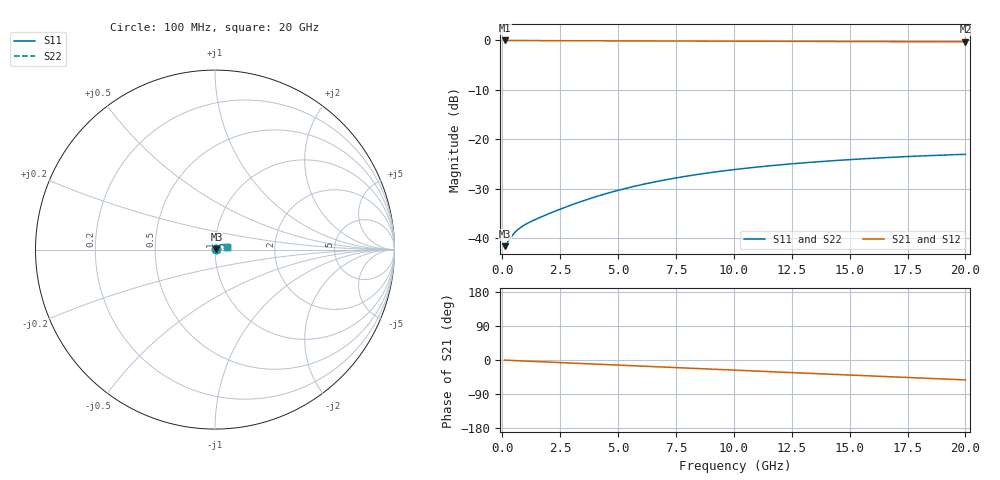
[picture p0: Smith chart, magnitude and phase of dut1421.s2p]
! Touchstone file exported from HFSS 2026.1.0
!  File:  C:/ffzhzh/LocalFiles/Ansys_Project_Files/temp_train_TMRDL_1421_1783166703_43440.aedt
!  Generated:  08:06:20 PM Jul  4, 2026
!  Design:  TMRDL
!  Project:  temp_train_TMRDL_1421_1783166703_43440
! Variables:
!  h_bsmrdl = 2um
!  h_ox = 20um
!  h_rdl = 5um
!  h_sub = 80um
!  h_tmrdl = 3.35um
!  h_tsv = 80um
!  h_via = 3um
!  l_bsmrdl = 300um
!  l_sub = 1359.05um
!  l_tmrdl = 959.05um
!  m_sub = 200um
!  pitch = 16.06um
!  r_tsv = 6um
!  s_tmrdl = 10um
!  w_bsmrdl = 18um
!  w_sub = 500um
!  w_tmrdl = 12.42um
!  x_tsv_center1 = 965.26um
!  x_tsv_center2 = 1283.26um
!  x_tsv_center3 = 2254.73um
!  x_tsv_center4 = 2572.73um
!  x_tsv_center5 = 3544.2um
!  x_tsv_center6 = 3862.2um
# GHz S MA R 50.000000
! Terminal data exported
! Port[1] = TM_RDL1_1_T1
! Port[2] = TM_RDL1_1_T2
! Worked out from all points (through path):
!   200 points, 100 MHz to 20 GHz, reference 50 ohm
!   highest |S21| = -0.07 dB at 100 MHz (marker M1); lowest = -0.3 dB at 20 GHz (marker M2)
!   group delay of S21, straight-line fit = 7.27 ps
!   lowest |S11| = -41.6 dB at 100 MHz (marker M3), VSWR 1.02, Z = 50.8 + j0.125 ohm
!   |S11| at or under -10 dB: start of sweep to end of sweep
!   |S22| runs from -41.6 to -23.0 dB; largest |S21 - S12| = 2.8e-15
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0.1  0.0083 8.6  0.9918 -0.3  0.9918 -0.3  0.0083 8.6
! Gamma 0 0 0 0
! Port Impedance 50 0 50 0
0.2  0.008875 15.4  0.9915 -0.6  0.9915 -0.6  0.008875 15.4
0.4  0.01041 23.1  0.9905 -1.2  0.9905 -1.2  0.01041 23.1
0.5  0.01113 25.0  0.99 -1.5  0.99 -1.5  0.01114 25.0
0.6  0.01179 26.3  0.9896 -1.8  0.9896 -1.8  0.01179 26.3
0.8  0.01288 28.2  0.9889 -2.3  0.9889 -2.3  0.01288 28.2
1  0.01378 29.8  0.9884 -2.8  0.9884 -2.8  0.01378 29.8
1.4  0.01533 32.8  0.9877 -3.9  0.9877 -3.9  0.01534 32.8
2.1  0.018 37.6  0.9868 -5.8  0.9868 -5.8  0.01801 37.6
2.8  0.02086 40.9  0.9861 -7.7  0.9861 -7.7  0.02087 40.9
3.5  0.02386 42.8  0.9852 -9.6  0.9852 -9.6  0.02387 42.8
4.3  0.02736 43.7  0.9841 -11.7  0.9841 -11.7  0.02738 43.7
5.1  0.03084 43.6  0.9829 -13.8  0.9829 -13.8  0.03086 43.6
5.9  0.03422 42.9  0.9817 -16.0  0.9817 -16.0  0.03425 42.8
6.8  0.03787 41.5  0.9802 -18.4  0.9802 -18.4  0.0379 41.5
8.4  0.04387 38.4  0.9774 -22.6  0.9774 -22.6  0.04392 38.3
10.1  0.04953 34.5  0.9746 -27.0  0.9746 -27.0  0.04959 34.4
11.7  0.0542 30.7  0.972 -31.2  0.972 -31.2  0.05428 30.5
13.4  0.05854 26.5  0.9695 -35.6  0.9695 -35.6  0.05864 26.3
15  0.06209 22.7  0.9673 -39.7  0.9673 -39.7  0.06222 22.4
16.7  0.06535 18.6  0.9652 -44.1  0.9652 -44.1  0.0655 18.3
20  0.07029 10.8  0.9615 -52.5  0.9615 -52.5  0.07051 10.4
